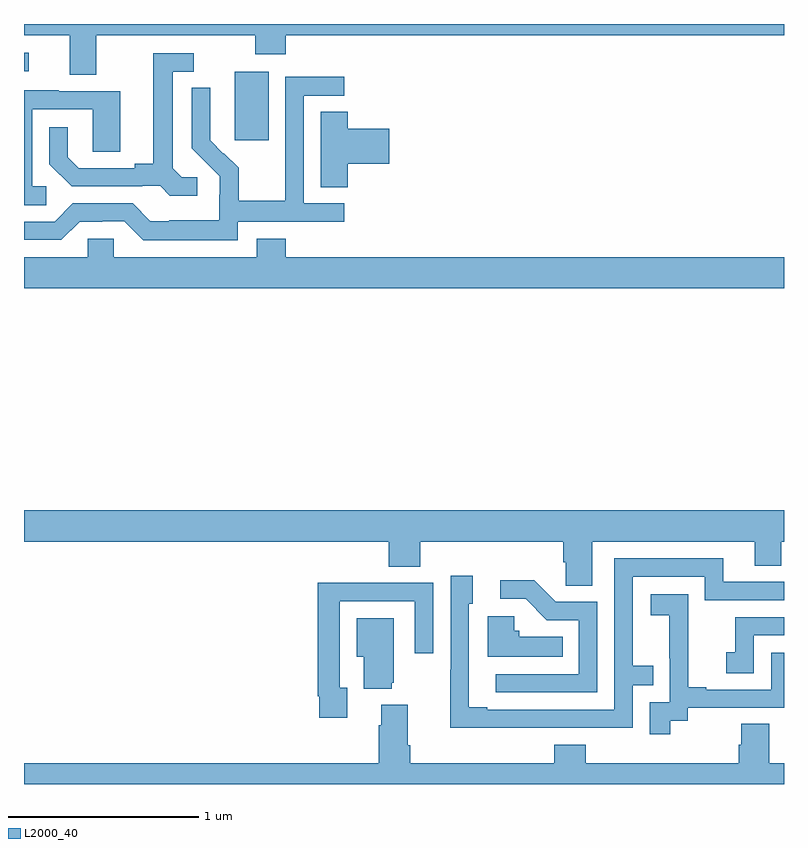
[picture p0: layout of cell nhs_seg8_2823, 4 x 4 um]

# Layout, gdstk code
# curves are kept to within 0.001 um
import gdstk
lib = gdstk.Library(unit=1e-6, precision=1e-09)
def R(c, l, rs):  # rectangles x0, y0, x1, y1
    for r in rs: c.add(gdstk.rectangle(r[:2], r[2:], *l))
def P(c, l, *ps):  # polygons
    for p in ps: c.add(gdstk.Polygon(p, *l))
L2000_40 = (2000, 40)

nhs_seg8_2823 = lib.new_cell('nhs_seg8_2823')
R(nhs_seg8_2823, L2000_40, [(290.108,1109.289,290.287,1109.65), (289,1109.652,289.024,1109.748)])
P(nhs_seg8_2823, L2000_40, [(289.381,1109.84),(290.218,1109.84),(290.218,1109.741),(290.378,1109.741),(290.378,1109.84),(293,1109.84),(293,1109.9),(289,1109.9),(289,1109.84),(289.241,1109.84),(289.241,1109.632),(289.381,1109.632)],
  [(289.912,1109.094),(289.83,1109.094),(289.783,1109.141),(289.783,1109.649),(289.894,1109.649),(289.894,1109.745),(289.679,1109.745),(289.679,1109.165),(289.583,1109.165),(289.583,1109.142),(289.288,1109.142),(289.231,1109.199),(289.231,1109.356),(289.134,1109.356),(289.134,1109.162),(289.25,1109.046),(289.622,1109.046),(289.622,1109.049),(289.716,1109.049),(289.768,1108.997),(289.912,1108.997)],
  [(290.124,1108.86),(290.686,1108.86),(290.686,1108.956),(290.472,1108.956),(290.472,1109.523),(290.686,1109.523),(290.686,1109.622),(290.376,1109.622),(290.376,1109.192),(290.374,1109.192),(290.374,1108.969),(290.129,1108.969),(290.129,1109.143),(290.052,1109.22),(290.049,1109.217),(289.979,1109.288),(289.98,1109.564),(289.884,1109.564),(289.884,1109.246),(290.03,1109.098),(290.03,1109.001),(290.028,1109.001),(290.028,1108.867),(289.765,1108.867),(289.765,1108.863),(289.665,1108.863),(289.572,1108.956),(289.257,1108.956),(289.161,1108.86),(289,1108.86),(289,1108.764),(289.197,1108.764),(289.293,1108.86),(289.412,1108.86),(289.412,1108.863),(289.527,1108.863),(289.627,1108.763),(290.124,1108.763)],
  [(289.117,1109.046),(289.044,1109.046),(289.044,1109.451),(289.362,1109.451),(289.362,1109.227),(289.507,1109.227),(289.507,1109.547),(289.183,1109.547),(289.183,1109.551),(289,1109.551),(289,1108.945),(289.117,1108.945)],
  [(290.705,1109.165),(290.923,1109.165),(290.923,1109.348),(290.705,1109.348),(290.705,1109.438),(290.561,1109.438),(290.561,1109.041),(290.705,1109.041)],
  [(293,1108.672),(290.378,1108.672),(290.378,1108.771),(290.225,1108.771),(290.225,1108.672),(289.473,1108.672),(289.473,1108.77),(289.335,1108.77),(289.335,1108.672),(289,1108.672),(289,1108.508),(293,1108.508)],
  [(291.991,1107.176),(292.847,1107.176),(292.847,1107.049),(292.986,1107.049),(292.986,1107.176),(293,1107.176),(293,1107.34),(289,1107.34),(289,1107.176),(290.921,1107.176),(290.921,1107.043),(291.086,1107.043),(291.086,1107.176),(291.839,1107.176),(291.839,1107.067),(291.852,1107.067),(291.852,1106.944),(291.991,1106.944)],
  [(291.707,1106.196),(292.203,1106.196),(292.203,1106.421),(292.313,1106.421),(292.313,1106.522),(292.203,1106.522),(292.203,1106.991),(292.584,1106.991),(292.584,1106.868),(293,1106.868),(293,1106.964),(292.681,1106.964),(292.681,1107.087),(292.107,1107.087),(292.107,1106.292),(291.439,1106.292),(291.439,1106.305),(291.342,1106.305),(291.342,1106.85),(291.361,1106.85),(291.361,1106.995),(291.246,1106.995),(291.246,1106.501),(291.244,1106.501),(291.244,1106.195),(291.707,1106.195)],
  [(292.017,1106.859),(291.798,1106.859),(291.685,1106.972),(291.507,1106.972),(291.507,1106.874),(291.641,1106.874),(291.752,1106.763),(291.921,1106.763),(291.921,1106.478),(291.483,1106.478),(291.483,1106.382),(292.017,1106.382)],
  [(290.701,1106.406),(290.661,1106.406),(290.661,1106.862),(291.057,1106.862),(291.057,1106.589),(291.153,1106.589),(291.153,1106.958),(290.837,1106.958),(290.837,1106.96),(290.545,1106.96),(290.545,1106.362),(290.553,1106.362),(290.553,1106.25),(290.701,1106.25)],
  [(292.402,1106.233),(292.494,1106.233),(292.494,1106.301),(293,1106.301),(293,1106.592),(292.932,1106.592),(292.932,1106.397),(292.591,1106.397),(292.591,1106.41),(292.496,1106.41),(292.496,1106.693),(292.497,1106.693),(292.497,1106.899),(292.299,1106.899),(292.299,1106.789),(292.397,1106.789),(292.397,1106.561),(292.398,1106.561),(292.398,1106.331),(292.293,1106.331),(292.293,1106.163),(292.402,1106.163)],
  [(291.836,1106.674),(291.606,1106.674),(291.606,1106.706),(291.579,1106.706),(291.579,1106.782),(291.44,1106.782),(291.44,1106.57),(291.836,1106.57)],
  [(292.842,1106.682),(293,1106.682),(293,1106.778),(292.744,1106.778),(292.744,1106.593),(292.695,1106.593),(292.695,1106.484),(292.842,1106.484)],
  [(290.936,1106.433),(290.947,1106.433),(290.947,1106.773),(290.75,1106.773),(290.75,1106.57),(290.789,1106.57),(290.789,1106.402),(290.936,1106.402)],
  [(293,1106.008),(292.923,1106.008),(292.923,1106.216),(292.775,1106.216),(292.775,1106.106),(292.763,1106.106),(292.763,1106.008),(291.956,1106.008),(291.956,1106.107),(291.791,1106.107),(291.791,1106.008),(291.032,1106.008),(291.032,1106.104),(291.019,1106.104),(291.019,1106.317),(290.879,1106.317),(290.879,1106.21),(290.867,1106.21),(290.867,1106.008),(289,1106.008),(289,1105.9),(293,1105.9)])

lib.write_gds('nhs_seg8_2823.gds')
